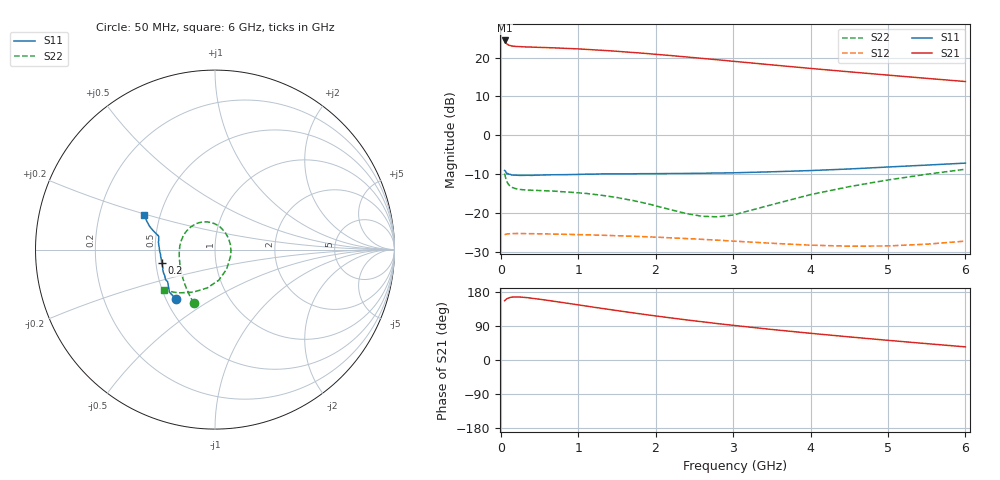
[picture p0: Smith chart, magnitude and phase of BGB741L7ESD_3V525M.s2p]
!  Infineon Technologies AG
!  BGB741L7ESD
!  Vce = 3.5V, Ic = 25.0mA
!  DATUM: 30.06.2009 10:09:47
# GHz  S  MA  R  50
!f  S11  S21  S12  S22
!GHz  Mag  Ang  Mag  Ang  Mag  Ang  Mag  Ang
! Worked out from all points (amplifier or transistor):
!   44 points, 50 MHz to 6 GHz, reference 50 ohm
!   highest |S21| = 24.4 dB at 50 MHz (marker M1)
!   |S21| within 3 dB of that: start of sweep to 1.64 GHz
!   unconditionally stable (mu >= 1): 188.1 MHz to end of sweep
!   at 120 MHz: K = 0.97, MSG = 24.2 dB, |S12| = -25.3 dB
!   at 1 GHz: K = 1.04, MAG = 22.7 dB, |S12| = -25.6 dB
!   at 6 GHz: K = 1.66, MAG = 15.8 dB, |S12| = -27.3 dB
!   S11 on the Smith chart (normalised r, x): 50 MHz: 0.56, -0.35; 200 MHz: 0.54, -0.09; 6 GHz: 0.41, +0.19
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0.05  0.3515 -128.3  16.58 156.6  0.05252 16.1  0.3212 -111.7
0.06  0.3471 -136.9  15.76 158.3  0.05292 13.5  0.2895 -119.6
0.07  0.3309 -141.6  15.26 160.2  0.0533 11.5  0.2685 -126.4
0.08  0.3188 -145.9  14.92 161.6  0.05362 10.1  0.2531 -132.1
0.1  0.3153 -152.7  14.48 163.6  0.05382 7.9  0.2335 -141.4
0.14  0.308 -160.6  14.1 165.8  0.0541 5.4  0.2147 -154.6
0.2  0.3058 -166.0  13.89 166.4  0.0543 3.4  0.2044 -166.7
0.35  0.3054 -173.6  13.67 164.3  0.0541 1.1  0.1971 175.2
0.7  0.31 179.7  13.31 154.5  0.05335 -1.0  0.1905 149.4
1.1  0.3152 175.0  12.74 142.5  0.05228 -2.3  0.1782 125.5
1.4  0.3184 172.3  12.22 133.5  0.05125 -2.8  0.1632 109.0
1.6  0.3182 170.4  11.81 127.5  0.05046 -3.1  0.151 97.6
1.9  0.3199 168.6  11.23 119.0  0.04928 -3.3  0.1311 78.9
2.2  0.3214 167.3  10.59 111.1  0.04777 -3.2  0.1096 57.6
2.4  0.3223 166.7  10.16 105.8  0.04675 -3.1  0.09791 39.8
2.8  0.3265 165.9  9.351 96.0  0.0446 -2.2  0.08906 -1.9
3.5  0.3382 165.0  8.043 80.6  0.04069 1.7  0.1276 -59.6
4  0.3508 163.8  7.241 70.5  0.03845 6.5  0.1719 -83.1
4.5  0.3677 162.2  6.546 61.0  0.03733 13.0  0.2178 -101.4
5  0.3899 160.1  5.937 51.9  0.03759 20.4  0.2655 -116.8
5.5  0.4126 157.3  5.393 43.2  0.03959 27.6  0.3144 -129.9
6  0.4375 154.2  4.91 34.6  0.04335 33.3  0.3648 -141.4
